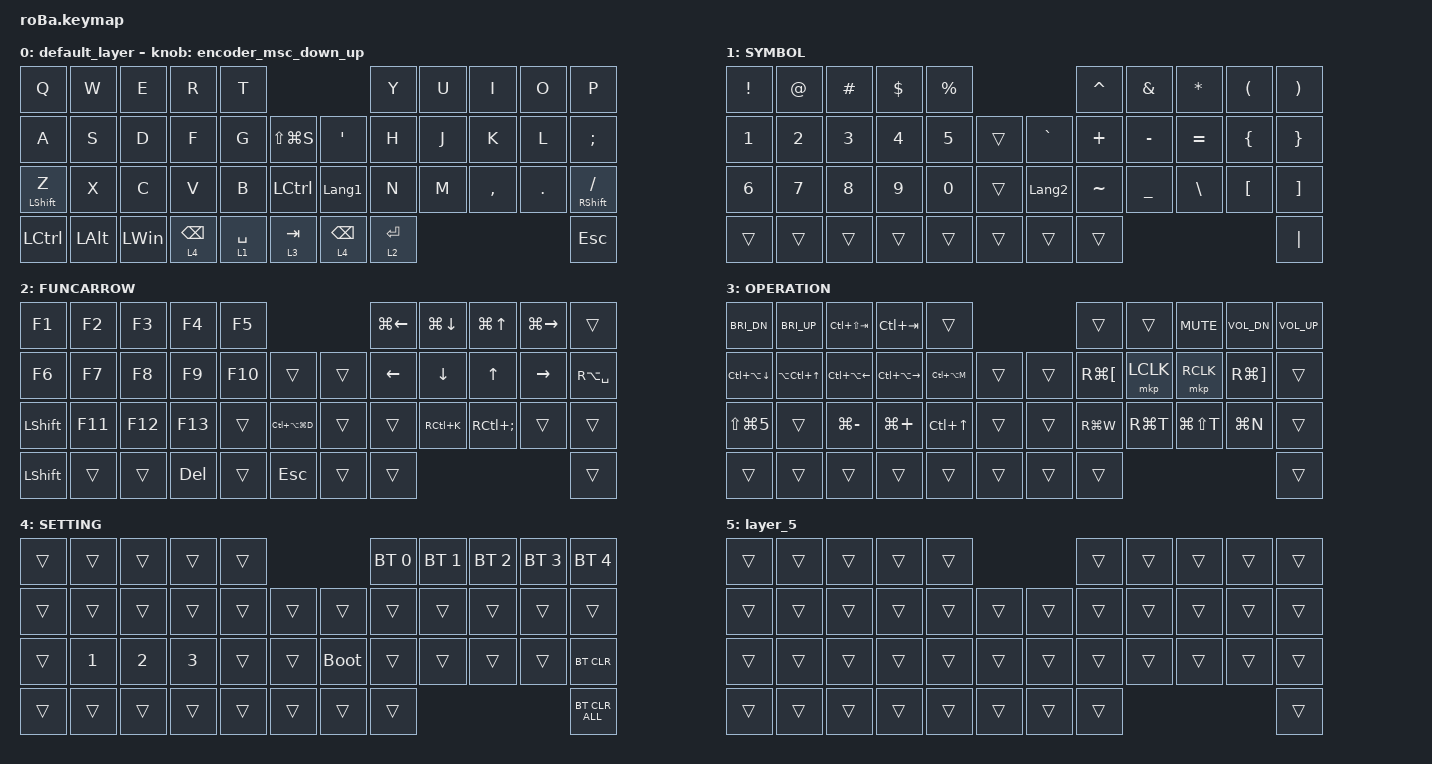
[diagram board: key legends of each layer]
#include <behaviors.dtsi>
#include <dt-bindings/zmk/bt.h>
#include <dt-bindings/zmk/keys.h>
#include <dt-bindings/zmk/pointing.h>

#define ZMK_POINTING_DEFAULT_SCRL_VAL 80

&mt {
    flavor = "balanced";
    quick-tap-ms = <0>;
};

&trackball {
    // automouse-layer = <4>;

    scroll-layers = <1 4>;

    // arrows {
    //     layers = <3>;
    //     bindings =
    //         <&kp RIGHT_ARROW>,
    //         <&kp LEFT_ARROW>,
    //         <&kp UP_ARROW>,
    //         <&kp DOWN_ARROW>;
    //     tick = <10>;
    //     wait-ms = <5>;
    //     tap-ms = <5>;
    // };
};

/ {
    combos {
        compatible = "zmk,combos";

        tab {
            bindings = <&kp TAB>;
            key-positions = <11 12>;
        };

        shift_tab {
            bindings = <&kp LS(TAB)>;
            key-positions = <12 13>;
        };

        left_click {
            bindings = <&mkp LCLK>;
            key-positions = <18 19>;
        };

        right_click {
            bindings = <&mkp RCLK>;
            key-positions = <19 20>;
        };
    };

    macros {
        to_layer_0: to_layer_0 {
            compatible = "zmk,behavior-macro-one-param";
            #binding-cells = <1>;
            bindings = <&to 0 &macro_param_1to1 &kp MACRO_PLACEHOLDER>;
            label = "TO_LAYER_0";
        };
    };

    behaviors {
        lt_to_layer_0: lt_to_layer_0 {
            compatible = "zmk,behavior-hold-tap";
            label = "LAYER_TAP_TO_0";
            bindings = <&mo>, <&to_layer_0>;

            #binding-cells = <2>;
            tapping-term-ms = <200>;
        };

        encoder_msc_down_up: encoder_msc_down_up {
            compatible = "zmk,behavior-sensor-rotate";
            label = "ENCODER_MSC_DOWN_UP";
            #sensor-binding-cells = <0>;
            bindings = <&msc SCRL_DOWN>, <&msc SCRL_UP>;

            tap-ms = <20>;
        };
    };

    keymap {
        compatible = "zmk,keymap";

        default_layer {
            bindings = <
&kp Q             &kp W         &kp E         &kp R            &kp T                                            &kp Y        &kp U  &kp I      &kp O    &kp P
&kp A             &kp S         &kp D         &kp F            &kp G        &kp LS(LG(S))      &kp SQT          &kp H        &kp J  &kp K      &kp L    &kp SEMI
&mt LEFT_SHIFT Z  &kp X         &kp C         &kp V            &kp B        &kp LCTRL          &kp LANGUAGE_1   &kp N        &kp M  &kp COMMA  &kp DOT  &mt RIGHT_SHIFT SLASH
&kp LCTRL         &kp LEFT_ALT  &kp LEFT_WIN  &lt 4 BACKSPACE  &lt 1 SPACE  &lt 3 TAB          &lt 4 BACKSPACE  &lt 2 ENTER                             &kp ESCAPE
            >;

            sensor-bindings = <&encoder_msc_down_up>;
        };

        SYMBOL {
            bindings = <
&kp EXCLAMATION  &kp AT_SIGN   &kp HASH      &kp DOLLAR    &kp PERCENT                               &kp CARET  &kp AMPERSAND   &kp ASTRK      &kp LEFT_PARENTHESIS  &kp RIGHT_PARENTHESIS
&kp NUMBER_1     &kp NUMBER_2  &kp NUMBER_3  &kp NUMBER_4  &kp NUMBER_5  &trans      &kp GRAVE       &kp PLUS   &kp MINUS       &kp EQUAL      &kp LEFT_BRACE        &kp RIGHT_BRACE
&kp NUMBER_6     &kp NUMBER_7  &kp NUMBER_8  &kp NUMBER_9  &kp NUMBER_0  &trans      &kp LANGUAGE_2  &kp TILDE  &kp UNDERSCORE  &kp BACKSLASH  &kp LEFT_BRACKET      &kp RIGHT_BRACKET
&trans           &trans        &trans        &trans        &trans        &trans      &trans          &trans                                                          &kp PIPE
            >;
        };

        FUNCARROW {
            bindings = <
&kp F1          &kp F2   &kp F3   &kp F4      &kp F5                                  &kp LG(LEFT)  &kp LG(DOWN)  &kp LG(UP)         &kp LG(RIGHT)  &trans
&kp F6          &kp F7   &kp F8   &kp F9      &kp F10  &trans                 &trans  &kp LEFT      &kp DOWN      &kp UP             &kp RIGHT      &kp RA(SPACE)
&kp LEFT_SHIFT  &kp F11  &kp F12  &kp F13     &trans   &kp LC(LA(LG(D)))      &trans  &trans        &kp RC(K)     &kp RC(SEMICOLON)  &trans         &trans
&kp LEFT_SHIFT  &trans   &trans   &kp DELETE  &trans   &kp ESCAPE             &trans  &trans                                                        &trans
            >;
        };

        OPERATION {
            bindings = <
&kp C_BRI_DN          &kp C_BRI_UP    &kp LC(LS(TAB))   &kp LC(TAB)        &trans                             &trans        &trans     &kp C_MUTE     &kp C_VOL_DN  &kp C_VOL_UP
&kp LC(LA(DOWN))      &kp LA(LC(UP))  &kp LC(LA(LEFT))  &kp LC(LA(RIGHT))  &kp LC(LA(M))  &trans      &trans  &kp RG(LBKT)  &mkp LCLK  &mkp RCLK      &kp RG(RBKT)  &trans
&kp LS(LG(NUMBER_5))  &trans          &kp LG(MINUS)     &kp LG(PLUS)       &kp LC(UP)     &trans      &trans  &kp RG(W)     &kp RG(T)  &kp LG(LS(T))  &kp LG(N)     &trans
&trans                &trans          &trans            &trans             &trans         &trans      &trans  &trans                                                &trans
            >;
        };

        SETTING {
            bindings = <
&trans  &trans        &trans        &trans        &trans                           &bt BT_SEL 0  &bt BT_SEL 1  &bt BT_SEL 2  &bt BT_SEL 3  &bt BT_SEL 4
&trans  &trans        &trans        &trans        &trans  &trans      &trans       &trans        &trans        &trans        &trans        &trans
&trans  &kp NUMBER_1  &kp NUMBER_2  &kp NUMBER_3  &trans  &trans      &bootloader  &trans        &trans        &trans        &trans        &bt BT_CLR
&trans  &trans        &trans        &trans        &trans  &trans      &trans       &trans                                                  &bt BT_CLR_ALL
            >;
        };

        layer_5 {
            bindings = <
&trans  &trans  &trans  &trans  &trans                      &trans  &trans  &trans  &trans  &trans
&trans  &trans  &trans  &trans  &trans  &trans      &trans  &trans  &trans  &trans  &trans  &trans
&trans  &trans  &trans  &trans  &trans  &trans      &trans  &trans  &trans  &trans  &trans  &trans
&trans  &trans  &trans  &trans  &trans  &trans      &trans  &trans                          &trans
            >;
        };
    };
};
